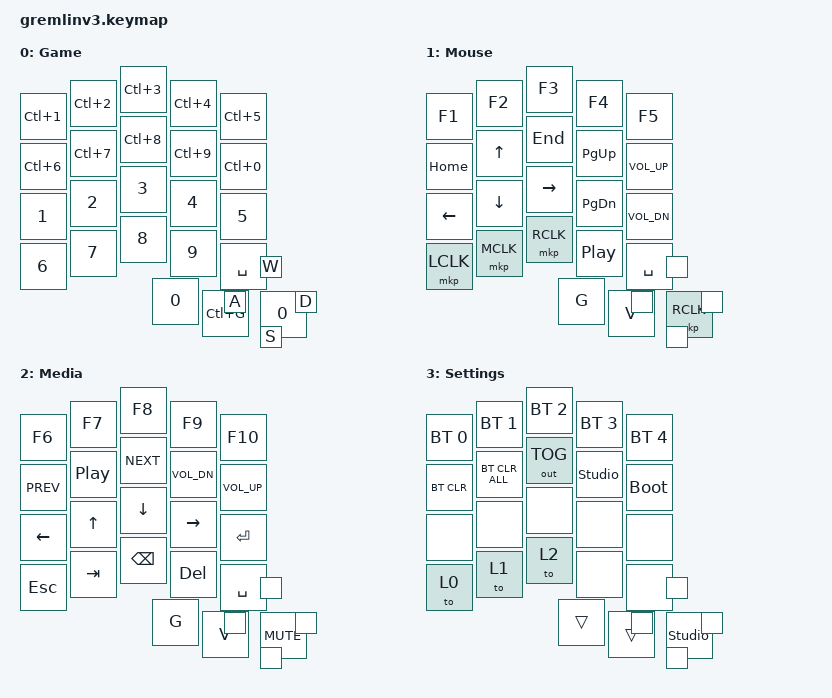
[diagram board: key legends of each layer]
/*
 * Copyright (c) 2026 The ZMK Contributors
 *
 * SPDX-License-Identifier: MIT
 */

#include <behaviors.dtsi>
#include <dt-bindings/zmk/keys.h>
#include <dt-bindings/zmk/bt.h>
#include <dt-bindings/zmk/outputs.h>
#include <dt-bindings/zmk/pointing.h>

/*
 * ==============================================================================
 * Gremlin v3 Keymap Matrix Index Mapping:
 *
 * [ 0] S1    [ 1] S2    [ 2] S3    [ 3] S4    [ 4] S5
 * [ 5] S6    [ 6] S7    [ 7] S8    [ 8] S9    [ 9] S10
 * [10] S11   [11] S12   [12] S13   [13] S14   [14] S15
 * [15] S16   [16] S17   [17] S18   [18] S19   [19] S20
 *                       [20] S21   [21] S22
 * [22] Joy-Con Stick Click (L3)
 * [23] Stick UP   [24] Stick DOWN   [25] Stick LEFT   [26] Stick RIGHT
 * ==============================================================================
 */

/ {
    combos {
        compatible = "zmk,combos";

        /* Press both thumb keys (G + V / S21 + S22) together to momentarily activate Settings layer */
        combo_settings {
            timeout-ms = <150>;
            slow-release;
            key-positions = <20 21>;
            bindings = <&mo 3>;
        };
    };

    keymap {
        compatible = "zmk,keymap";

        /*
         * ----------------------------------------------------------------------
         * Layer 0: Game / Default
         * Top 2 rows: Ctrl + Numbers (Ctrl+1..5, Ctrl+6..0)
         * Bottom 2 rows: Numbers (1..5, 6..9), Space
         * Thumbs: 0 (S21), Ctrl+G (S22)
         * Analog Stick Mode: SWITCH (Emulates WASD) + Click (0)
         * ----------------------------------------------------------------------
         */
        default_layer {
            display-name = "Game";
            bindings = <
                /* Row 0: S1 - S5 (Ctrl + 1..5) */
                &kp LC(N1)    &kp LC(N2)    &kp LC(N3)    &kp LC(N4)    &kp LC(N5)
                /* Row 1: S6 - S10 (Ctrl + 6..0) */
                &kp LC(N6)    &kp LC(N7)    &kp LC(N8)    &kp LC(N9)    &kp LC(N0)
                /* Row 2: S11 - S15 (Numbers 1..5) */
                &kp N1        &kp N2        &kp N3        &kp N4        &kp N5
                /* Row 3: S16 - S20 (Numbers 6..9, Space) */
                &kp N6        &kp N7        &kp N8        &kp N9        &kp SPACE
                /* Thumb Keys: S21, S22 */
                &kp N0        &kp LC(G)
                /* Joy-Con Stick Click (L3) */
                &kp N0
                /* Joy-Con Analog Stick Directions (Switch Mode: WASD) */
                &kp W         &kp S         &kp A         &kp D
            >;
        };

        /*
         * ----------------------------------------------------------------------
         * Layer 1: Mouse & Navigation
         * Analog Stick Mode: MOUSE
         * ----------------------------------------------------------------------
         */
        mouse_layer {
            display-name = "Mouse";
            bindings = <
                /* Row 0: Function Keys */
                &kp F1        &kp F2        &kp F3        &kp F4        &kp F5
                /* Row 1: Navigation & Volume */
                &kp HOME      &kp UP        &kp END       &kp PG_UP     &kp C_VOL_UP
                /* Row 2: Navigation & Volume */
                &kp LEFT      &kp DOWN      &kp RIGHT     &kp PG_DN     &kp C_VOL_DN
                /* Row 3: Mouse Clicks & Media */
                &mkp LCLK     &mkp MCLK     &mkp RCLK     &kp C_PP      &kp SPACE
                /* Thumb Keys */
                &kp G         &kp V
                /* Joy-Con Stick Click (L3) -> Right Click */
                &mkp RCLK
                /* Joy-Con Analog Stick Directions (Inactive in Mouse Mode) */
                &none         &none         &none         &none
            >;
        };

        /*
         * ----------------------------------------------------------------------
         * Layer 2: Media & System
         * Analog Stick Mode: SCROLL
         * ----------------------------------------------------------------------
         */
        media_layer {
            display-name = "Media";
            bindings = <
                /* Row 0: F6 - F10 */
                &kp F6        &kp F7        &kp F8        &kp F9        &kp F10
                /* Row 1: Media Control */
                &kp C_PREV    &kp C_PP      &kp C_NEXT    &kp C_VOL_DN  &kp C_VOL_UP
                /* Row 2: Arrow Keys & Enter */
                &kp LEFT      &kp UP        &kp DOWN      &kp RIGHT     &kp ENTER
                /* Row 3: Navigation */
                &kp ESC       &kp TAB       &kp BSPC      &kp DEL       &kp SPACE
                /* Thumb Keys */
                &kp G         &kp V
                /* Joy-Con Stick Click (L3) -> Mute */
                &kp C_MUTE
                /* Joy-Con Analog Stick Directions (Inactive in Scroll Mode) */
                &none         &none         &none         &none
            >;
        };

        /*
         * ----------------------------------------------------------------------
         * Layer 3: Settings (4th Layer)
         * - Bluetooth profile selection and clear controls
         * - Layer navigation controls
         * ----------------------------------------------------------------------
         */
        settings_layer {
            display-name = "Settings";
            bindings = <
                /* Row 0: S1 - S5 (BT Profiles 1..5) */
                &bt BT_SEL 0  &bt BT_SEL 1  &bt BT_SEL 2  &bt BT_SEL 3  &bt BT_SEL 4
                /* Row 1: S6 = Clear Current BT, S7 = Clear ALL BT, Extras */
                &bt BT_CLR    &bt BT_CLR_ALL &out OUT_TOG &studio_unlock &bootloader
                /* Row 2: Unused */
                &none         &none         &none         &none         &none
                /* Row 3: S16 = Layer 0 (Game), S17 = Layer 1 (Mouse), S18 = Layer 2 (Media) */
                &to 0         &to 1         &to 2         &none         &none
                /* Thumb Keys */
                &trans        &trans
                /* Stick Click & Directions */
                &studio_unlock
                &none         &none         &none         &none
            >;
        };
    };
};
